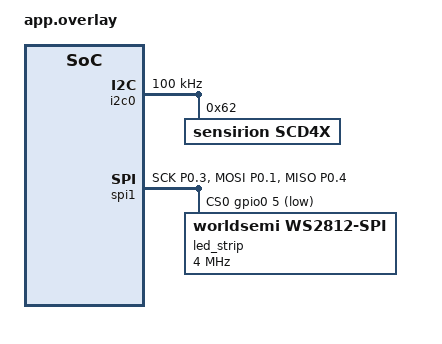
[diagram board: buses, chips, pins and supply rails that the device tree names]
/*
 * Copyright (c) 2024 Jan Gnip
 * SPDX-License-Identifier: Apache-2.0
 */
 #include <zephyr/dt-bindings/led/led.h>

 &i2c0 {
	status = "okay";
	clock-frequency = <I2C_BITRATE_STANDARD>;
	
	scd4x@62 {
		status = "okay";
		compatible = "sensirion,scd4x";
		reg = <0x62>;
		model = "scd40";
		altitude = <290>;
		measure-mode = "normal";
		temperature-offset = <6>;
	};
};

&pinctrl {
	spi1_default: spi3_default {
		group1 {
			psels = <NRF_PSEL(SPIM_SCK, 0, 3)>, /* UNUSED */
				<NRF_PSEL(SPIM_MOSI, 0, 1)>,
				<NRF_PSEL(SPIM_MISO, 0, 4)>; /* UNUSED */
		};
	};

	spi1_sleep: spi0_sleep {
		group1 {
			psels = <NRF_PSEL(SPIM_SCK, 0, 3)>, /* UNUSED */
				<NRF_PSEL(SPIM_MOSI, 0, 1)>,
				<NRF_PSEL(SPIM_MISO, 0, 4)>; /* UNUSED */
			low-power-enable;
		};
	};
};

/* i2c0 could not be used together with spi0 */
&spi1 {
	compatible = "nordic,nrf-spi";
	status = "okay";
	pinctrl-0 = <&spi1_default>;
	pinctrl-1 = <&spi1_sleep>;
	cs-gpios = <&gpio0 5 GPIO_ACTIVE_LOW>; /* UNUSED */
    pinctrl-names = "default", "sleep";

    led_strip: ws2812@0 {
		compatible = "worldsemi,ws2812-spi";

		/* SPI */
		reg = <0>; /* UNUSED */
		spi-max-frequency = <4000000>;

		/* WS2812 */
		chain-length = <1>;
		color-mapping = <LED_COLOR_ID_GREEN
				 LED_COLOR_ID_RED
				 LED_COLOR_ID_BLUE>;
		spi-one-frame = <0x70>;
		spi-zero-frame = <0x40>;
        reset-delay = <150>;
	};

};

/ {
    aliases {
		led-strip = &led_strip;
	};
};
